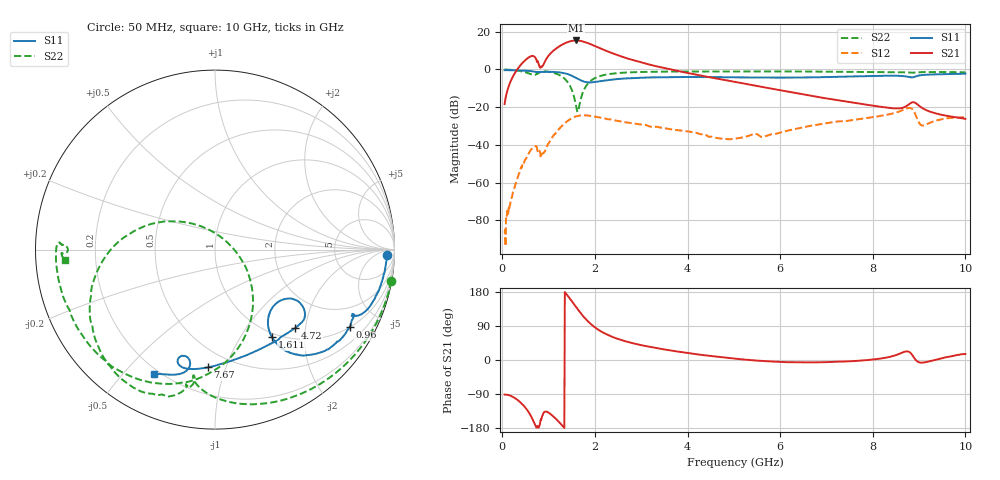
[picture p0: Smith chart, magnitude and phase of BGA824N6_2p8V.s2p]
! (c) 2013 Infineon Technologies AG
! BGA824N6 - SiGe Low Noise Amplifier for Global Navigation Satellite Systems (GNSS)
! 28 Jan. 2013
! Standard Application Board
! C1 = L1 = 0 Ohm
! C2 = 10 nF
! Vcc = 2.8V
! RF input and output lines de-embedded
! Port 1 reference plane: LNA input AI (pin 5)
! Port 2 reference plane: LNA output AO (pin 3)
# Hz S  dB  R 50
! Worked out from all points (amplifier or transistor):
!   1356 points, 50 MHz to 10 GHz, reference 50 ohm
!   highest |S21| = 15.4 dB at 1.593 GHz (marker M1)
!   |S21| within 3 dB of that: 1.239 GHz to 2.006 GHz (766.6 MHz wide, 47.3 % of centre)
!   unconditionally stable (mu >= 1): start of sweep to end of sweep
!   at 1.491 GHz: K = 1.18, MAG = 17.9 dB, |S12| = -26.0 dB
!   at 3.23 GHz: K = 2.30, MAG = 9.9 dB, |S12| = -30.4 dB
!   at 10 GHz: K = 22.84, MAG = -17.0 dB, |S12| = -25.4 dB
!   lowest NFmin = 0.59 dB at 1.55 GHz
!   S11 on the Smith chart (normalised r, x): 50 MHz: 31, -21; 960 MHz: 1.01, -3.46; 1.611 GHz: 0.94, -1.38; 4.72 GHz: 1.22, -1.75; 7.67 GHz: 0.38, -0.87; 10 GHz: 0.18, -0.61
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5e7  -0.38 -1.7  -18.31 -91.2  -86.48 -173.2  -0.02 -10.1
4.9e8  -0.64 -17.5  4.77 -124.5  -48.03 170.2  -1.45 -85.9
6.6e8  -1.02 -24.0  7.16 -158.1  -41.36 144.5  -2.90 -99.9
7.8e8  -1.40 -25.8  3.24 -178.6  -42.34 120.0  -1.96 -102.3
9.6e8  -1.26 -30.0  5.93 -136.4  -40.93 163.0  -1.05 -127.6
1.11e9  -1.32 -36.2  10.07 -150.1  -34.81 160.4  -1.82 -147.3
1.26e9  -1.64 -43.3  12.67 -168.1  -30.57 148.5  -3.33 -167.8
1.442e9  -2.72 -52.7  14.75 164.9  -26.74 127.0  -7.83 160.7
1.593e9  -4.47 -57.0  15.35 139.8  -24.87 105.4  -19.46 101.5
1.611e9  -4.71 -57.0  15.34 136.9  -24.74 102.8  -21.61 78.6
1.709e9  -5.93 -54.3  15.02 121.2  -24.30 89.4  -14.40 -28.5
1.8e9  -6.67 -48.7  14.37 108.3  -24.32 78.3  -9.14 -52.7
1.94e9  -6.82 -40.0  13.04 91.9  -24.75 64.8  -5.47 -73.3
2.19e9  -5.97 -32.8  10.41 71.5  -25.85 48.9  -2.99 -95.3
2.67e9  -4.75 -32.8  6.08 49.0  -28.02 34.5  -1.63 -117.4
3.37e9  -4.13 -36.2  1.43 30.6  -30.55 28.2  -1.19 -135.9
4.72e9  -4.09 -44.6  -5.22 7.5  -36.57 50.1  -1.05 -163.2
5.03e9  -4.18 -47.9  -6.63 3.5  -36.63 68.9  -1.04 -168.3
6.69e9  -4.19 -76.9  -14.08 -6.3  -29.70 108.9  -1.13 178.0
7.67e9  -3.64 -93.5  -17.94 -2.1  -26.44 107.6  -1.28 177.6
8.35e9  -3.33 -103.1  -20.37 7.7  -23.80 104.1  -1.38 178.1
1e10  -2.26 -116.4  -26.21 15.7  -25.44 102.9  -1.55 -176.2
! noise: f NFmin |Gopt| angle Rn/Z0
1.55e+09  0.5856  0.5282  33.93  0.1969
1.557e+09  0.5861  0.5278  34.08  0.1968
1.564e+09  0.5866  0.5275  34.23  0.1966
1.571e+09  0.5872  0.5271  34.38  0.1964
1.578e+09  0.5877  0.5267  34.52  0.1963
1.586e+09  0.5883  0.5262  34.69  0.1961
1.593e+09  0.5889  0.5258  34.84  0.196
1.6e+09  0.5895  0.5254  34.98  0.1958
1.607e+09  0.59  0.525  35.13  0.1957
1.615e+09  0.5907  0.5246  35.3  0.1955
